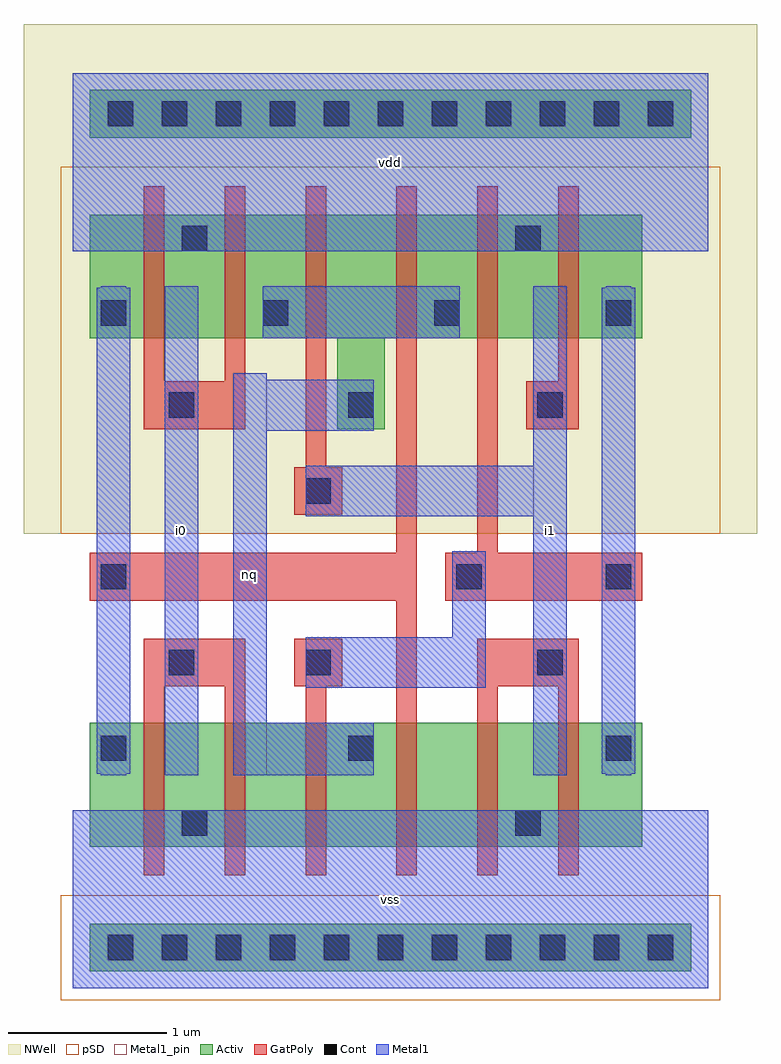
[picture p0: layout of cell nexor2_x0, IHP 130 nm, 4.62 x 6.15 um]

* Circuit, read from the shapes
.subckt nexor2_x0 i0 i1 nq vdd vss
XM1 vss i0 n1 vss sg13_lv_nmos w=0.78u l=0.13u
XM2 n2 i0 vss vss sg13_lv_nmos w=0.78u l=0.13u
XM3 nq n3 n2 vss sg13_lv_nmos w=0.78u l=0.13u
XM4 n4 n1 nq vss sg13_lv_nmos w=0.78u l=0.13u
XM5 vss i1 n4 vss sg13_lv_nmos w=0.78u l=0.13u
XM6 n3 i1 vss vss sg13_lv_nmos w=0.78u l=0.13u
XM7 vdd i0 n1 vdd sg13_lv_pmos w=0.78u l=0.13u
XM8 n5 i0 vdd vdd sg13_lv_pmos w=0.78u l=0.13u
XM9 nq i1 n5 vdd sg13_lv_pmos w=0.78u l=0.13u
XM10 n5 n1 nq vdd sg13_lv_pmos w=0.78u l=0.13u
XM11 vdd n3 n5 vdd sg13_lv_pmos w=0.78u l=0.13u
XM12 n3 i1 vdd vdd sg13_lv_pmos w=0.78u l=0.13u
.ends

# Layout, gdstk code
import gdstk
lib = gdstk.Library(unit=1e-6, precision=1e-09)
def R(c, l, rs):  # rectangles x0, y0, x1, y1
    for r in rs: c.add(gdstk.rectangle(r[:2], r[2:], *l))
def A(c, l, x, y, w, h, nx, ny, dx, dy):  # array of equal rectangles
    R(c, l, [(x+i*dx, y+j*dy, x+i*dx+w, y+j*dy+h) for i in range(nx) for j in range(ny)])
def P(c, l, *ps):  # polygons
    for p in ps: c.add(gdstk.Polygon(p, *l))
Activ = (1, 0)
GatPoly = (5, 0)
Cont = (6, 0)
Metal1 = (8, 0)
Metal1_pin = (8, 2)
pSD = (14, 0)
NWell = (31, 0)

nexor2_x0 = lib.new_cell('nexor2_x0')
R(nexor2_x0, Activ, [(0.105,0.105,3.895,0.405), (0.105,0.89,3.585,1.67), (0.105,5.355,3.895,5.655)])
P(nexor2_x0, Activ, [(1.665,3.52),(1.665,4.09),(0.105,4.09),(0.105,4.87),(3.585,4.87),(3.585,4.09),(1.965,4.09),(1.965,3.52)])
P(nexor2_x0, GatPoly, [(2.035,0.71),(2.035,2.44),(0.105,2.44),(0.105,2.74),(2.035,2.74),(2.035,5.05),(2.165,5.05),(2.165,0.71)],
  [(0.445,0.71),(0.445,2.2),(1.085,2.2),(1.085,0.71),(0.955,0.71),(0.955,1.9),(0.575,1.9),(0.575,0.71)],
  [(0.445,3.52),(0.445,5.05),(0.575,5.05),(0.575,3.82),(0.955,3.82),(0.955,5.05),(1.085,5.05),(1.085,3.52)],
  [(1.465,0.71),(1.465,1.9),(1.395,1.9),(1.395,2.2),(1.695,2.2),(1.695,1.9),(1.595,1.9),(1.595,0.71)],
  [(2.345,2.44),(2.345,2.74),(2.545,2.74),(2.545,5.05),(2.675,5.05),(2.675,2.74),(3.585,2.74),(3.585,2.44)],
  [(1.395,2.98),(1.395,3.28),(1.465,3.28),(1.465,5.05),(1.595,5.05),(1.595,3.28),(1.695,3.28),(1.695,2.98)],
  [(2.545,0.71),(2.545,2.2),(3.185,2.2),(3.185,0.71),(3.055,0.71),(3.055,1.9),(2.675,1.9),(2.675,0.71)],
  [(2.855,3.52),(2.855,3.82),(3.055,3.82),(3.055,5.05),(3.185,5.05),(3.185,3.52)])
A(nexor2_x0, Cont, 0.22, 0.175, 0.16, 0.16, 11, 2, 0.34, 5.25)
A(nexor2_x0, Cont, 1.195, 4.17, 0.16, 0.16, 3, 1, 1.08, 0)
R(nexor2_x0, Cont, [(0.685,0.96,0.845,1.12), (2.785,0.96,2.945,1.12), (0.175,1.43,0.335,1.59), (1.735,1.43,1.895,1.59), (3.355,1.43,3.515,1.59), (0.605,1.97,0.765,2.13), (1.465,1.97,1.625,2.13), (2.925,1.97,3.085,2.13), (0.175,2.51,0.335,2.67), (2.415,2.51,2.575,2.67), (3.355,2.51,3.515,2.67), (1.465,3.05,1.625,3.21), (0.605,3.59,0.765,3.75), (1.735,3.59,1.895,3.75), (2.925,3.59,3.085,3.75), (0.175,4.17,0.335,4.33), (0.685,4.64,0.845,4.8), (2.785,4.64,2.945,4.8)])
R(nexor2_x0, Metal1, [(0,0,4,1.12), (0.58,1.34,0.79,4.42), (1.195,4.09,2.435,4.42), (0,4.64,4,5.76)])
P(nexor2_x0, Metal1, [(0.175,1.34),(0.175,1.35),(0.15,1.35),(0.15,4.41),(0.175,4.41),(0.175,4.42),(0.335,4.42),(0.335,4.41),(0.36,4.41),(0.36,1.35),(0.335,1.35),(0.335,1.34)],
  [(1.01,1.34),(1.01,3.87),(1.22,3.87),(1.22,3.83),(1.895,3.83),(1.895,3.51),(1.22,3.51),(1.22,1.67),(1.895,1.67),(1.895,1.34)],
  [(3.355,1.34),(3.355,1.35),(3.33,1.35),(3.33,4.41),(3.355,4.41),(3.355,4.42),(3.515,4.42),(3.515,4.41),(3.54,4.41),(3.54,1.35),(3.515,1.35),(3.515,1.34)],
  [(1.465,1.89),(1.465,2.21),(2.39,2.21),(2.39,2.75),(2.6,2.75),(2.6,1.89)],
  [(2.9,1.34),(2.9,2.97),(1.465,2.97),(1.465,3.29),(2.9,3.29),(2.9,4.42),(3.11,4.42),(3.11,1.34)])
R(nexor2_x0, Metal1_pin, [(0,0,4,1.12), (0.58,1.34,0.79,4.42), (1.01,1.34,1.22,3.87), (2.9,1.34,3.11,4.42), (0,4.64,4,5.76)])
R(nexor2_x0, pSD, [(-0.075,-0.075,4.075,0.585), (-0.075,2.86,4.075,5.17)])
R(nexor2_x0, NWell, [(-0.31,2.86,4.31,6.07)])
nexor2_x0.add(gdstk.Label('vdd', (2,5.2), layer=8, texttype=2))
nexor2_x0.add(gdstk.Label('vss', (2,0.56), layer=8, texttype=2))
nexor2_x0.add(gdstk.Label('i0', (0.685,2.88), layer=8, texttype=2))
nexor2_x0.add(gdstk.Label('nq', (1.115,2.605), layer=8, texttype=2))
nexor2_x0.add(gdstk.Label('i1', (3.005,2.88), layer=8, texttype=2))

lib.write_gds('nexor2_x0.gds')
